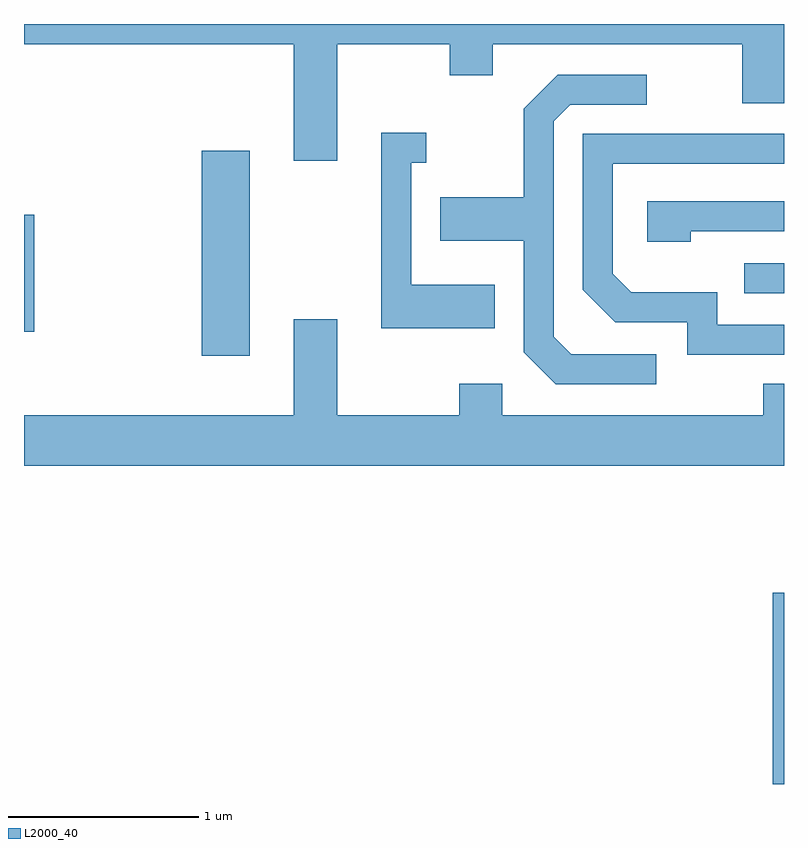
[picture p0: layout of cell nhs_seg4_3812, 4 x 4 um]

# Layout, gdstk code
import gdstk
lib = gdstk.Library(unit=1e-6, precision=1e-09)
def R(c, l, rs):  # rectangles x0, y0, x1, y1
    for r in rs: c.add(gdstk.rectangle(r[:2], r[2:], *l))
def P(c, l, *ps):  # polygons
    for p in ps: c.add(gdstk.Polygon(p, *l))
L2000_40 = (2000, 40)

nhs_seg4_3812 = lib.new_cell('nhs_seg4_3812')
R(nhs_seg4_3812, L2000_40, [(301.551,1261.982,301.611,1262.989), (298.546,1264.236,298.799,1265.314), (297.611,1264.361,297.664,1264.979), (301.403,1264.566,301.611,1264.724)])
P(nhs_seg4_3812, L2000_40, [(299.259,1265.876),(299.851,1265.876),(299.851,1265.711),(300.079,1265.711),(300.079,1265.876),(301.391,1265.876),(301.391,1265.566),(301.611,1265.566),(301.611,1265.982),(297.611,1265.982),(297.611,1265.876),(299.031,1265.876),(299.031,1265.261),(299.259,1265.261)],
  [(300.938,1264.244),(300.492,1264.244),(300.399,1264.337),(300.399,1265.469),(300.487,1265.556),(300.888,1265.556),(300.888,1265.714),(300.419,1265.714),(300.241,1265.537),(300.241,1265.069),(299.801,1265.069),(299.801,1264.841),(300.241,1264.841),(300.241,1264.254),(300.409,1264.086),(300.938,1264.086)],
  [(300.089,1264.609),(299.649,1264.609),(299.649,1265.251),(299.728,1265.251),(299.728,1265.409),(299.491,1265.409),(299.491,1264.381),(300.089,1264.381)],
  [(301.611,1264.399),(301.259,1264.399),(301.259,1264.569),(300.807,1264.569),(300.709,1264.667),(300.709,1265.246),(301.611,1265.246),(301.611,1265.404),(300.551,1265.404),(300.551,1264.584),(300.724,1264.411),(301.101,1264.411),(301.101,1264.241),(301.611,1264.241)],
  [(301.119,1264.891),(301.611,1264.891),(301.611,1265.049),(300.891,1265.049),(300.891,1264.836),(301.119,1264.836)],
  [(301.611,1264.089),(301.501,1264.089),(301.501,1263.924),(300.129,1263.924),(300.129,1264.089),(299.901,1264.089),(299.901,1263.924),(299.259,1263.924),(299.259,1264.429),(299.031,1264.429),(299.031,1263.924),(297.611,1263.924),(297.611,1263.656),(301.611,1263.656)])

lib.write_gds('nhs_seg4_3812.gds')
